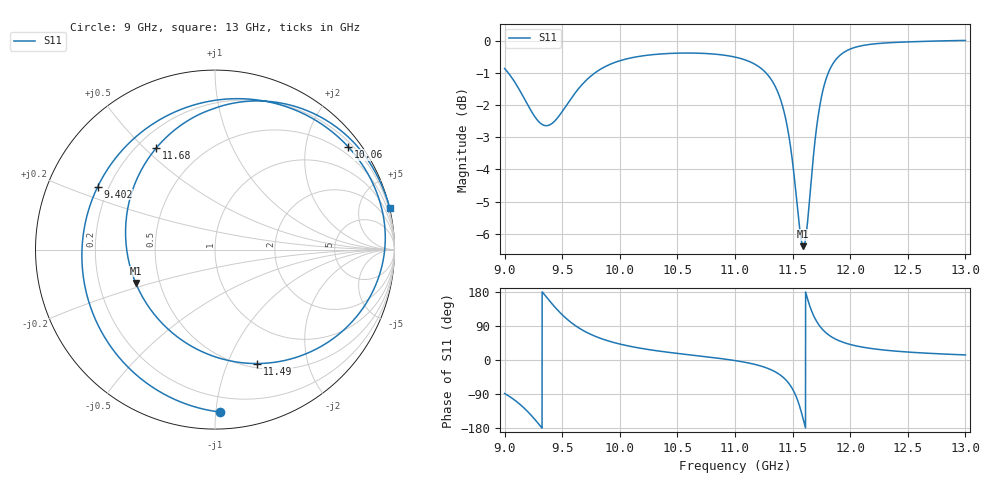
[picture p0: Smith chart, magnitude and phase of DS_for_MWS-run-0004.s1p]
! TOUCHSTONE file generated by CST DESIGN STUDIO
! Date and time: Tue Feb  4 15:52:03 2025
! Project name: C:\Work\MatlabApps\UnitCellOptimizationMatlab\CST\unitcell.cst
! Tree item: Tasks\Sweep1\SPara1\S-Parameters
! Header version: 2024
! Port assignment regex: !\s*Touchstone port\s*([0-9]+)\s*=\s*(CST MWS port|CST DES external port|CST DES block port)\s*(.+)\s* \(\"(.*)\"\)(\s*mode\s*([0-9]+))?.*
! Touchstone port assignment:
! Touchstone port 1 = CST DES external port 1 ("")
# GHz S MA R 50
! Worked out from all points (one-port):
!   4001 points, 9 GHz to 13 GHz, reference 50 ohm
!   lowest |S11| = -6.4 dB at 11.59 GHz (marker M1), VSWR 2.84, Z = 18.2 - j8.83 ohm
!   |S11| at or under -10 dB: nowhere
!   S11 on the Smith chart (normalised r, x): 9 GHz: 0.10, -1.02; 9.402 GHz: 0.16, +0.25; 10.06 GHz: 0.31, +2.91; 11.49 GHz: 0.55, -1.28; 11.68 GHz: 0.27, +0.54; 13 GHz: -0.03, +8.53
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9  0.9052 -88.3
9.131  0.8373 -116.4
9.252  0.7667 -153.2
9.327  0.7408 179.6
9.402  0.7417 151.7
9.5  0.7761 119.4
9.607  0.8269 92.3
9.743  0.8792 68.4
10  0.9306 42.1
10.065  0.9374 37.6
10.5  0.9562 17.3
11  0.9429 -1.5
11.192  0.9147 -13.1
11.319  0.8678 -26.5
11.411  0.7935 -43.9
11.486  0.6764 -69.8
11.5  0.6469 -76.9
11.547  0.5394 -109.2
11.593  0.4795 -157.1
11.633  0.5299 157.9
11.678  0.6542 120.0
11.722  0.7638 95.4
11.774  0.8522 76.2
11.871  0.9323 55.4
12  0.9704 41.0
12.193  0.9878 29.9
12.5  0.9955 21.0
13  1.001 13.4
